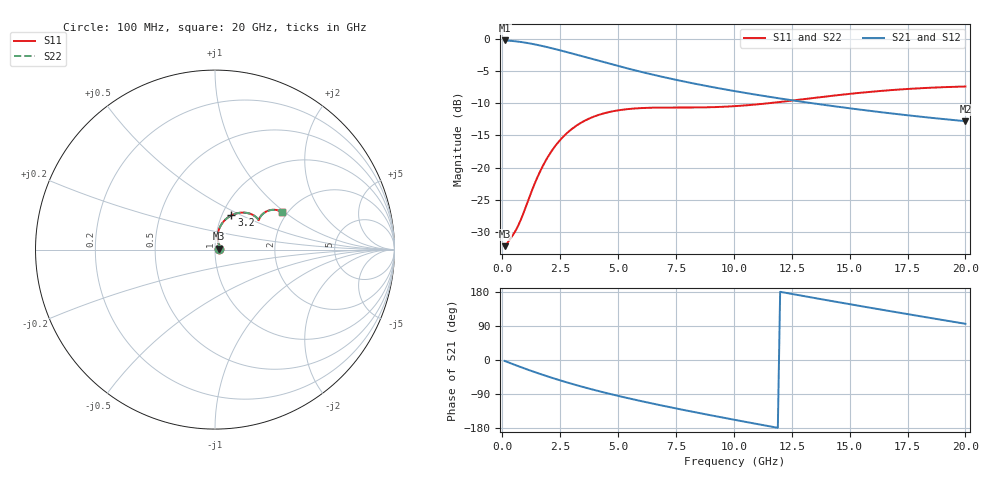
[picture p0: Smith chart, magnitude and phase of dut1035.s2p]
! Touchstone file exported from HFSS 2024.1.0
!  File:  C:/UserFiles/LocalFiles/RDL_TSV_Batchsim/temp_RDL_TSV_1035_1780084610.aedt
!  Generated:  04:12:58 AM May 30, 2026
!  Design:  RDL_TSV
!  Project:  temp_RDL_TSV_1035_1780084610
!  Setup:  Setup1
!  Solution:  Sweep
! Variables:
!  dtsv = 10.71um
!  hbump = 3um
!  htsv = 92.15um
!  ldown = 605.92um
!  lrdl = 450.09um
!  p = 40
!  p1 = 58.58um
!  rhole = 10um
!  subl = 3618.12um
!  t = 450um
!  tdown = 2.76um
!  trdl = 3.32um
!  viad = 10um
!  wdown = 24.52um
!  wrdl = 13.21um
!  xbump = 18um
# GHz S MA R 50.000000
! Terminal data exported
! Port[1] = TM1_1_T1
! Port[2] = TM1_4_T1
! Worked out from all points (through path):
!   200 points, 100 MHz to 20 GHz, reference 50 ohm
!   highest |S21| = -0.22 dB at 100 MHz (marker M1); lowest = -12.8 dB at 20 GHz (marker M2)
!   group delay of S21, straight-line fit = 34.5 ps
!   lowest |S11| = -32.2 dB at 100 MHz (marker M3), VSWR 1.05, Z = 52.5 + j0.457 ohm
!   |S11| at or under -10 dB: start of sweep to 11.47 GHz
!   |S22| runs from -32.2 to -7.4 dB; largest |S21 - S12| = 9e-15
!   S11 on the Smith chart (normalised r, x): 100 MHz: 1.05, +0.01; 3.2 GHz: 1.11, +0.44; 20 GHz: 1.87, +0.95
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0.1  0.02446 10.2  0.9754 -2.4  0.9754 -2.4  0.02446 10.2
! Gamma 0 0 0 0
! Port Impedance 50 0 50 0
0.5  0.03066 41.4  0.964 -11.9  0.964 -11.9  0.03065 41.5
0.7  0.03572 54.7  0.9549 -16.5  0.9549 -16.5  0.03572 54.7
1.2  0.06076 75.9  0.9241 -27.6  0.9241 -27.6  0.06079 75.9
1.6  0.09061 79.9  0.8938 -36.1  0.8938 -36.1  0.09068 79.9
1.9  0.1153 78.9  0.869 -42.2  0.869 -42.2  0.1154 79.0
2.3  0.1482 75.3  0.8346 -50.0  0.8346 -50.0  0.1483 75.3
2.7  0.1788 70.6  0.7996 -57.5  0.7996 -57.5  0.179 70.6
3.2  0.2119 64.3  0.7562 -66.3  0.7562 -66.3  0.2121 64.3
3.5  0.2285 60.7  0.7308 -71.4  0.7308 -71.4  0.2288 60.7
4.3  0.2615 52.0  0.6672 -84.2  0.6672 -84.2  0.2619 52.0
5.1  0.2806 45.1  0.6106 -96.1  0.6106 -96.1  0.2809 45.1
5.9  0.2897 40.0  0.5612 -107.2  0.5612 -107.2  0.2901 40.0
6.8  0.293 36.3  0.5137 -119.0  0.5137 -119.0  0.2934 36.3
8.4  0.2936 33.9  0.4462 -138.7  0.4462 -138.7  0.294 33.8
10.1  0.3011 34.9  0.3918 -158.6  0.3918 -158.6  0.3013 34.8
11.6  0.3181 36.3  0.3537 -175.6  0.3537 -175.6  0.3182 36.2
13.4  0.3473 36.8  0.3165 164.5  0.3165 164.5  0.3472 36.7
15  0.3746 35.8  0.2893 147.3  0.2893 147.3  0.3744 35.7
16.7  0.3995 33.7  0.2651 129.4  0.2651 129.4  0.3993 33.7
18.3  0.4166 31.5  0.2462 112.9  0.2462 112.9  0.4164 31.4
20  0.4275 29.1  0.2297 95.5  0.2297 95.5  0.4272 29.1
